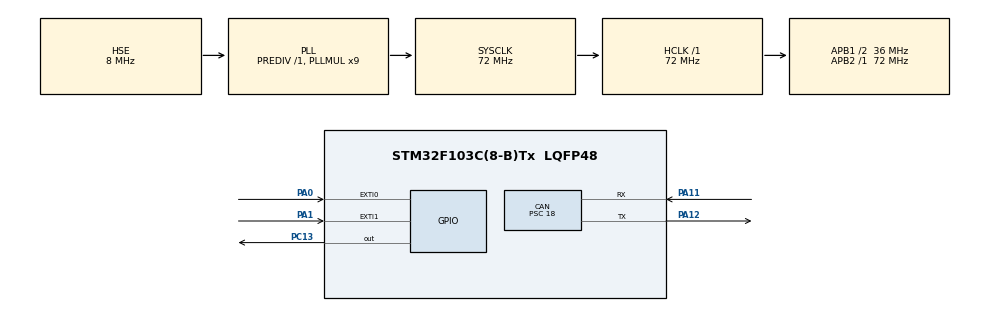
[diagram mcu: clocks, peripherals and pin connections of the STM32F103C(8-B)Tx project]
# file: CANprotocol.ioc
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CAN.ABOM=DISABLE
CAN.BS1=CAN_BS1_2TQ
CAN.CalculateBaudRate=500000
CAN.CalculateTimeBit=2000
CAN.CalculateTimeQuantum=500.0
CAN.Mode=CAN_MODE_NORMAL
CAN.NART=DISABLE
CAN.Prescaler=18
Mcu.Family=STM32F1
Mcu.Name=STM32F103C(8-B)Tx
Mcu.Package=LQFP48
NVIC.CAN1_RX1_IRQn=true\:0\:0\:false\:false\:true\:true\:true\:true
NVIC.PriorityGroup=NVIC_PRIORITYGROUP_4
NVIC.USB_LP_CAN1_RX0_IRQn=true\:0\:0\:false\:false\:true\:true\:true\:true
PA0-WKUP.GPIO_ModeDefaultEXTI=GPIO_MODE_IT_FALLING
PA0-WKUP.GPIO_PuPd=GPIO_PULLUP
PA0-WKUP.Signal=GPXTI0
PA1.GPIO_ModeDefaultEXTI=GPIO_MODE_IT_FALLING
PA1.GPIO_PuPd=GPIO_PULLUP
PA1.Signal=GPXTI1
PA11.Mode=CAN_Activate
PA11.Signal=CAN_RX
PA12.Mode=CAN_Activate
PA12.Signal=CAN_TX
PA13.Mode=Serial_Wire
PA13.Signal=SYS_JTMS-SWDIO
PA14.Mode=Serial_Wire
PA14.Signal=SYS_JTCK-SWCLK
PC13-TAMPER-RTC.GPIO_PuPd=GPIO_PULLUP
PC13-TAMPER-RTC.Signal=GPIO_Output
PD0-OSC_IN.Mode=HSE-External-Oscillator
PD0-OSC_IN.Signal=RCC_OSC_IN
PD1-OSC_OUT.Mode=HSE-External-Oscillator
PD1-OSC_OUT.Signal=RCC_OSC_OUT
ProjectManager.HeapSize=0x200
ProjectManager.StackSize=0x400
ProjectManager.TargetToolchain=MDK-ARM V5.32
RCC.AHBFreq_Value=72000000
RCC.APB1CLKDivider=RCC_HCLK_DIV2
RCC.APB1Freq_Value=36000000
RCC.APB1TimFreq_Value=72000000
RCC.APB2Freq_Value=72000000
RCC.APB2TimFreq_Value=72000000
RCC.HCLKFreq_Value=72000000
RCC.PLLMUL=RCC_PLL_MUL9
RCC.PLLSourceVirtual=RCC_PLLSOURCE_HSE
RCC.SYSCLKFreq_VALUE=72000000
RCC.SYSCLKSource=RCC_SYSCLKSOURCE_PLLCLK
RCC.USBFreq_Value=72000000
board=custom

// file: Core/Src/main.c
/* USER CODE BEGIN Header */
/**
  ******************************************************************************
  * @file           : main.c
  * @brief          : Main program body
  ******************************************************************************
  * @attention
  *
  * Copyright (c) 2023 STMicroelectronics.
  * All rights reserved.
  *
  * This software is licensed under terms that can be found in the LICENSE file
  * in the root directory of this software component.
  * If no LICENSE file comes with this software, it is provided AS-IS.
  *
  ******************************************************************************
  */
/* USER CODE END Header */
#include "main.h"

/* USER CODE BEGIN Includes */
#include <stdio.h>
/* USER CODE END Includes */

/* USER CODE BEGIN PTD */
#define MASTER_ID   0x281
#define SLAVE_ID1   0x012
#define SLAVE_ID2   0x274
/* USER CODE END PTD */

CAN_HandleTypeDef hcan;

/* USER CODE BEGIN PV */
CAN_TxHeaderTypeDef TxHeader;
CAN_RxHeaderTypeDef RxHeader;
uint32_t TxMailbox;
uint8_t TxData[8];
uint8_t RxData[8];

/* USER CODE END PV */

void SystemClock_Config(void);
static void MX_GPIO_Init(void);
static void MX_CAN_Init(void);
/* USER CODE BEGIN PFP */
void WriteCAN(uint8_t *data);
void ReadCAN(uint16_t ID, uint8_t *data);
/* USER CODE END PFP */

/* USER CODE BEGIN 0 */
CAN_HandleTypeDef     CanHandle;
CAN_TxHeaderTypeDef   TxHeader;
CAN_RxHeaderTypeDef   RxHeader;
uint8_t               TxData[8];
uint8_t               RxData[8];
uint32_t              TxMailbox;

/* USER CODE END 0 */

int main(void)
{

  /* MCU Configuration--------------------------------------------------------*/

  /* Reset of all peripherals, Initializes the Flash interface and the Systick. */
  HAL_Init();

  /* Configure the system clock */
  SystemClock_Config();

  /* Initialize all configured peripherals */
  MX_GPIO_Init();
  MX_CAN_Init();
  /* USER CODE BEGIN 2 */
  HAL_CAN_Start(&hcan);

  HAL_CAN_ActivateNotification(&hcan, CAN_IT_RX_FIFO0_MSG_PENDING);

  TxHeader.DLC = 8;
  TxHeader.ExtId = 0;
  TxHeader.IDE = CAN_ID_STD;
  TxHeader.RTR = CAN_RTR_DATA;
  TxHeader.StdId = MASTER_ID;
  TxHeader.TransmitGlobalTime = DISABLE;

  /* USER CODE END 2 */

  /* Infinite loop */
  while (1)
  {

    /* USER CODE BEGIN 3 */
		TxData[0]= HAL_GPIO_ReadPin(GPIOA, GPIO_PIN_0);
		TxData[1]= HAL_GPIO_ReadPin(GPIOA, GPIO_PIN_1);
		WriteCAN(TxData);
  }

  /* USER CODE END 3 */
}

void SystemClock_Config(void)
{
  RCC_OscInitTypeDef RCC_OscInitStruct = {0};
  RCC_ClkInitTypeDef RCC_ClkInitStruct = {0};

  /** Initializes the RCC Oscillators according to the specified parameters
  * in the RCC_OscInitTypeDef structure.
  */
  RCC_OscInitStruct.OscillatorType = RCC_OSCILLATORTYPE_HSE;
  RCC_OscInitStruct.HSEState = RCC_HSE_ON;
  RCC_OscInitStruct.HSEPredivValue = RCC_HSE_PREDIV_DIV1;
  RCC_OscInitStruct.HSIState = RCC_HSI_ON;
  RCC_OscInitStruct.PLL.PLLState = RCC_PLL_ON;
  RCC_OscInitStruct.PLL.PLLSource = RCC_PLLSOURCE_HSE;
  RCC_OscInitStruct.PLL.PLLMUL = RCC_PLL_MUL9;
  if (HAL_RCC_OscConfig(&RCC_OscInitStruct) != HAL_OK)
  {
    Error_Handler();
  }

  /** Initializes the CPU, AHB and APB buses clocks
  */
  RCC_ClkInitStruct.ClockType = RCC_CLOCKTYPE_HCLK|RCC_CLOCKTYPE_SYSCLK
                              |RCC_CLOCKTYPE_PCLK1|RCC_CLOCKTYPE_PCLK2;
  RCC_ClkInitStruct.SYSCLKSource = RCC_SYSCLKSOURCE_PLLCLK;
  RCC_ClkInitStruct.AHBCLKDivider = RCC_SYSCLK_DIV1;
  RCC_ClkInitStruct.APB1CLKDivider = RCC_HCLK_DIV2;
  RCC_ClkInitStruct.APB2CLKDivider = RCC_HCLK_DIV1;

  if (HAL_RCC_ClockConfig(&RCC_ClkInitStruct, FLASH_LATENCY_2) != HAL_OK)
  {
    Error_Handler();
  }
}

static void MX_CAN_Init(void)
{

  hcan.Instance = CAN1;
  hcan.Init.Prescaler = 18;
  hcan.Init.Mode = CAN_MODE_NORMAL;
  hcan.Init.SyncJumpWidth = CAN_SJW_1TQ;
  hcan.Init.TimeSeg1 = CAN_BS1_2TQ;
  hcan.Init.TimeSeg2 = CAN_BS2_1TQ;
  hcan.Init.TimeTriggeredMode = DISABLE;
  hcan.Init.AutoBusOff = DISABLE;
  hcan.Init.AutoWakeUp = DISABLE;
  hcan.Init.AutoRetransmission = DISABLE;
  hcan.Init.ReceiveFifoLocked = DISABLE;
  hcan.Init.TransmitFifoPriority = DISABLE;
  if (HAL_CAN_Init(&hcan) != HAL_OK)
  {
    Error_Handler();
  }
  /* USER CODE BEGIN CAN_Init 2 */
  CAN_FilterTypeDef canfilterconfig;

  canfilterconfig.FilterActivation = CAN_FILTER_ENABLE;
  canfilterconfig.FilterBank = 0;
  canfilterconfig.FilterFIFOAssignment = CAN_RX_FIFO0;
  canfilterconfig.FilterIdHigh = 0x0000;
  canfilterconfig.FilterIdLow = 0x0000;
  canfilterconfig.FilterMaskIdHigh = 0x0000;
  canfilterconfig.FilterMaskIdLow = 0x0000;
  canfilterconfig.FilterMode = CAN_FILTERMODE_IDMASK;
  canfilterconfig.FilterScale = CAN_FILTERSCALE_32BIT;
  canfilterconfig.SlaveStartFilterBank = 13;

  HAL_CAN_ConfigFilter(&hcan, &canfilterconfig);
  /* USER CODE END CAN_Init 2 */

}

static void MX_GPIO_Init(void)
{
  GPIO_InitTypeDef GPIO_InitStruct = {0};

  /* GPIO Ports Clock Enable */
  __HAL_RCC_GPIOC_CLK_ENABLE();
  __HAL_RCC_GPIOD_CLK_ENABLE();
  __HAL_RCC_GPIOA_CLK_ENABLE();

  /*Configure GPIO pin Output Level */
  HAL_GPIO_WritePin(GPIOC, GPIO_PIN_13, GPIO_PIN_RESET);

  /*Configure GPIO pin : PC13 */
  GPIO_InitStruct.Pin = GPIO_PIN_13;
  GPIO_InitStruct.Mode = GPIO_MODE_OUTPUT_PP;
  GPIO_InitStruct.Pull = GPIO_PULLUP;
  GPIO_InitStruct.Speed = GPIO_SPEED_FREQ_LOW;
  HAL_GPIO_Init(GPIOC, &GPIO_InitStruct);

  /*Configure GPIO pins : PA0 PA1 */
  GPIO_InitStruct.Pin = GPIO_PIN_0|GPIO_PIN_1;
  GPIO_InitStruct.Mode = GPIO_MODE_IT_FALLING;
  GPIO_InitStruct.Pull = GPIO_PULLUP;
  HAL_GPIO_Init(GPIOA, &GPIO_InitStruct);

}

/* USER CODE BEGIN 4 */

void WriteCAN(uint8_t *data)
{
	uint8_t dataOut[8];

	dataOut[0] = data[0];
	dataOut[1] = data[1];
	dataOut[2] = data[2];
	dataOut[3] = data[3];
	dataOut[4] = data[4];
	dataOut[5] = data[5];
	dataOut[6] = data[6];
	dataOut[7] = data[7];
	HAL_CAN_AddTxMessage(&hcan, &TxHeader, dataOut, &TxMailbox);

}
void HAL_CAN_RxFifo0MsgPendingCallback(CAN_HandleTypeDef *hcan)
{
	if(HAL_CAN_GetRxMessage(hcan, CAN_RX_FIFO0, &RxHeader, RxData)== HAL_OK)
	{
		if(RxHeader.StdId==SLAVE_ID1)
		{
			HAL_GPIO_TogglePin(GPIOC, GPIO_PIN_13);
		}
	}

}
//void HAL_GPIO_EXTI_Callback(uint16_t GPIO_Pin)
//{
//	if(GPIO_Pin== GPIO_PIN_0)
//	{
//		TxData[0]=0x01;
//		WriteCan(TxData);
//	}
//	if(GPIO_Pin== GPIO_PIN_1)
//	{
//		TxData[1]=0x01;
//		WriteCan(TxData);
//	}
//}
/* USER CODE END 4 */

void Error_Handler(void)
{
  __disable_irq();
  while (1)
  {
  }
}
